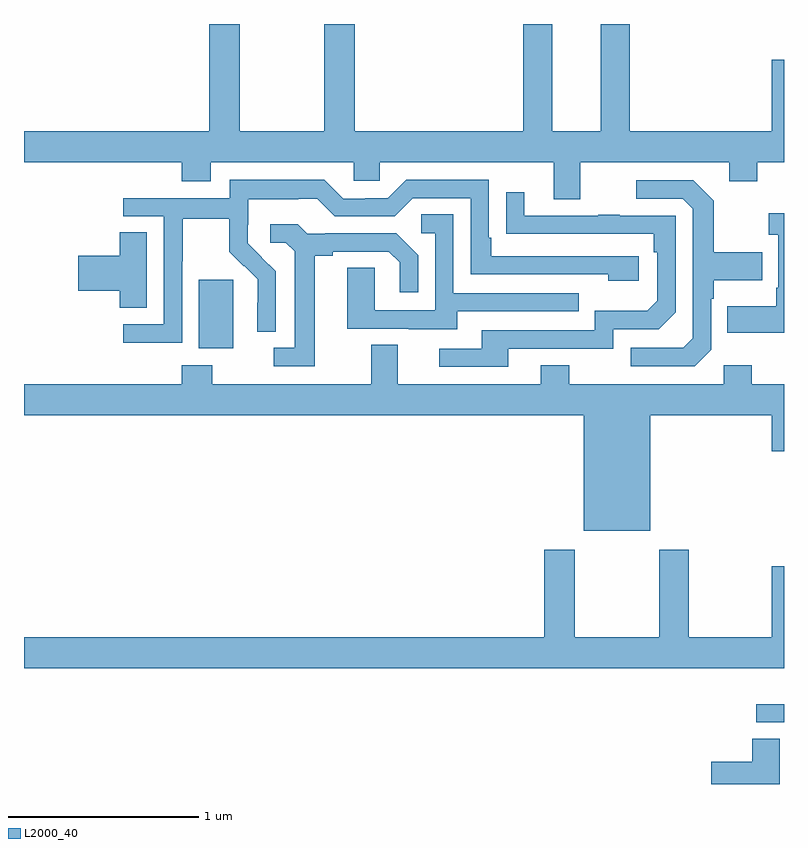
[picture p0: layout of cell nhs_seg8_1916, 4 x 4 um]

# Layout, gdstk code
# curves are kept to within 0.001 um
import gdstk
lib = gdstk.Library(unit=1e-6, precision=1e-09)
def R(c, l, rs):  # rectangles x0, y0, x1, y1
    for r in rs: c.add(gdstk.rectangle(r[:2], r[2:], *l))
def P(c, l, *ps):  # polygons
    for p in ps: c.add(gdstk.Polygon(p, *l))
L2000_40 = (2000, 40)

nhs_seg8_1916 = lib.new_cell('nhs_seg8_1916')
R(nhs_seg8_1916, L2000_40, [(236.853,1108.224,237,1108.32), (233.921,1110.194,234.1,1110.555)])
P(nhs_seg8_1916, L2000_40, [(235.927,1111.172),(236.711,1111.172),(236.711,1111.073),(236.859,1111.073),(236.859,1111.172),(237,1111.172),(237,1111.711),(236.936,1111.711),(236.936,1111.336),(236.189,1111.336),(236.189,1111.9),(236.036,1111.9),(236.036,1111.336),(235.78,1111.336),(235.78,1111.9),(235.628,1111.9),(235.628,1111.336),(234.74,1111.336),(234.74,1111.9),(234.58,1111.9),(234.58,1111.336),(234.135,1111.336),(234.135,1111.9),(233.975,1111.9),(233.975,1111.336),(233,1111.336),(233,1111.172),(233.831,1111.172),(233.831,1111.073),(233.983,1111.073),(233.983,1111.172),(234.735,1111.172),(234.735,1111.074),(234.873,1111.074),(234.873,1111.172),(235.787,1111.172),(235.787,1110.978),(235.927,1110.978)],
  [(233.832,1110.652),(233.835,1110.652),(233.835,1110.876),(234.079,1110.876),(234.079,1110.701),(234.156,1110.624),(234.159,1110.627),(234.23,1110.557),(234.23,1110.434),(234.228,1110.434),(234.228,1110.28),(234.324,1110.28),(234.324,1110.598),(234.178,1110.746),(234.178,1110.843),(234.18,1110.843),(234.18,1110.977),(234.443,1110.977),(234.443,1110.981),(234.543,1110.981),(234.636,1110.888),(234.951,1110.888),(235.047,1110.984),(235.35,1110.984),(235.35,1110.582),(236.075,1110.582),(236.075,1110.548),(236.236,1110.548),(236.236,1110.678),(235.459,1110.678),(235.459,1110.775),(235.446,1110.775),(235.446,1111.08),(235.011,1111.08),(234.915,1110.984),(234.797,1110.984),(234.797,1110.981),(234.681,1110.981),(234.581,1111.081),(234.084,1111.081),(234.084,1110.984),(233.523,1110.984),(233.523,1110.888),(233.736,1110.888),(233.736,1110.321),(233.523,1110.321),(233.523,1110.223),(233.832,1110.223)],
  [(236.616,1110.186),(236.616,1110.455),(236.629,1110.455),(236.629,1110.551),(236.885,1110.551),(236.885,1110.699),(236.629,1110.699),(236.629,1110.971),(236.523,1111.077),(236.223,1111.077),(236.223,1110.981),(236.466,1110.981),(236.52,1110.927),(236.52,1110.246),(236.469,1110.195),(236.193,1110.195),(236.193,1110.099),(236.529,1110.099)],
  [(235.549,1110.192),(236.1,1110.192),(236.1,1110.294),(236.34,1110.294),(236.43,1110.384),(236.43,1110.891),(236.135,1110.891),(236.135,1110.896),(236.023,1110.896),(236.023,1110.891),(235.633,1110.891),(235.633,1111.015),(235.537,1111.015),(235.537,1110.796),(236.314,1110.795),(236.314,1110.698),(236.334,1110.698),(236.334,1110.444),(236.281,1110.391),(236.004,1110.391),(236.004,1110.288),(235.409,1110.288),(235.409,1110.192),(235.185,1110.192),(235.185,1110.096),(235.549,1110.096)],
  [(237,1110.904),(236.919,1110.904),(236.919,1110.791),(236.97,1110.791),(236.97,1110.511),(236.958,1110.511),(236.958,1110.415),(236.701,1110.415),(236.701,1110.275),(237,1110.275)],
  [(235.279,1110.387),(235.919,1110.387),(235.919,1110.483),(235.26,1110.483),(235.26,1110.899),(235.092,1110.899),(235.092,1110.798),(235.164,1110.798),(235.164,1110.393),(234.846,1110.393),(234.846,1110.617),(234.701,1110.617),(234.701,1110.297),(235.025,1110.297),(235.025,1110.293),(235.279,1110.293)],
  [(234.529,1110.68),(234.625,1110.68),(234.625,1110.702),(234.92,1110.702),(234.977,1110.645),(234.977,1110.489),(235.074,1110.489),(235.074,1110.682),(234.958,1110.798),(234.586,1110.798),(234.586,1110.795),(234.492,1110.795),(234.44,1110.847),(234.297,1110.847),(234.297,1110.75),(234.378,1110.75),(234.425,1110.703),(234.425,1110.195),(234.315,1110.195),(234.315,1110.099),(234.529,1110.099)],
  [(233.647,1110.803),(233.504,1110.803),(233.504,1110.68),(233.286,1110.68),(233.286,1110.497),(233.504,1110.497),(233.504,1110.406),(233.647,1110.406)],
  [(233.831,1110.103),(233.831,1110.004),(233,1110.004),(233,1109.84),(235.946,1109.84),(235.946,1109.234),(236.296,1109.234),(236.296,1109.84),(236.936,1109.84),(236.936,1109.652),(237,1109.652),(237,1110.004),(236.829,1110.004),(236.829,1110.103),(236.682,1110.103),(236.682,1110.004),(235.869,1110.004),(235.869,1110.103),(235.721,1110.103),(235.721,1110.004),(234.967,1110.004),(234.967,1110.212),(234.827,1110.212),(234.827,1110.004),(233.991,1110.004),(233.991,1110.103)],
  [(237,1109.047),(236.936,1109.047),(236.936,1108.672),(236.499,1108.672),(236.499,1109.134),(236.344,1109.134),(236.344,1108.672),(235.899,1108.672),(235.899,1109.134),(235.739,1109.134),(235.739,1108.672),(233,1108.672),(233,1108.508),(237,1108.508)],
  [(236.977,1108.139),(236.834,1108.139),(236.834,1108.016),(236.616,1108.016),(236.616,1107.9),(236.977,1107.9)])

lib.write_gds('nhs_seg8_1916.gds')
